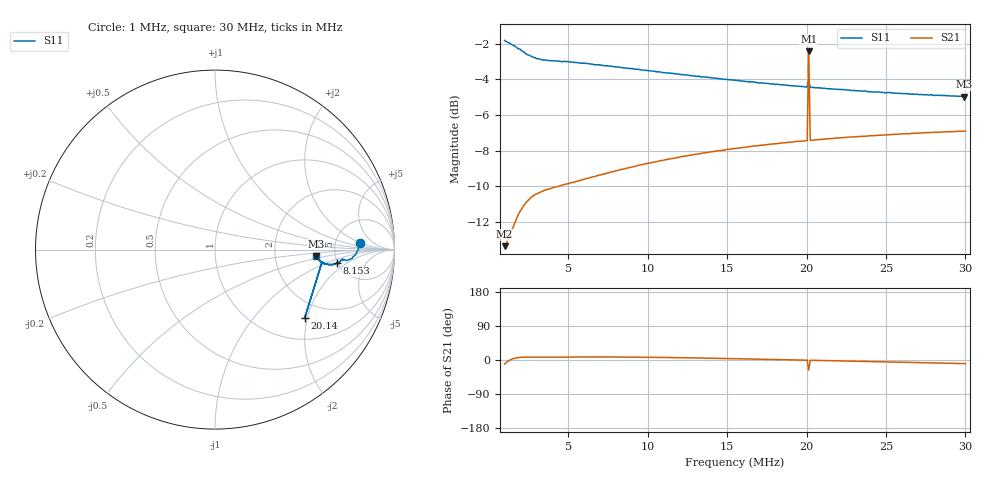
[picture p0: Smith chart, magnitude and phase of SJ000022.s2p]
!File created by NanoVNA-F V2
# Hz S RI R 50
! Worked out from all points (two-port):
!   301 points, 1 MHz to 30 MHz, reference 50 ohm
!   highest |S21| = -2.43 dB at 20.14 MHz (marker M1); lowest = -13.4 dB at 1 MHz (marker M2)
!   |S21| within 3 dB of the highest: 20.08 MHz to 20.2 MHz (116.3 kHz wide, 0.577 % of centre)
!   lowest |S11| = -5.0 dB at 29.9 MHz (marker M3), VSWR 3.59, Z = 178 - j18.2 ohm
!   |S11| at or under -10 dB: nowhere
!   S12 and S22 are empty: the file has one direction only
!   S11 on the Smith chart (normalised r, x): 1 MHz: 9.11, +2.05; 8.153 MHz: 4.91, -1.39; 20.14 MHz: 1.54, -1.93; 30 MHz: 3.56, -0.36
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1000000  0.8099 0.0385  0.2112 -0.0401  0 0  0 0
1289998  0.7978 0.000383  0.2285 -0.00423  0 0  0 0
1676662  0.7791 -0.033  0.2513 0.0225  0 0  0 0
1966660  0.7652 -0.0485  0.2669 0.0324  0 0  0 0
2159992  0.7533 -0.0536  0.2753 0.0363  0 0  0 0
2449990  0.7363 -0.06  0.2855 0.0384  0 0  0 0
2739988  0.7287 -0.0591  0.2938 0.0397  0 0  0 0
3029986  0.7182 -0.057  0.2988 0.0394  0 0  0 0
3416650  0.7131 -0.054  0.3045 0.0397  0 0  0 0
5833300  0.6972 -0.0645  0.3262 0.0455  0 0  0 0
7766620  0.6819 -0.0768  0.344 0.0488  0 0  0 0
8153284  0.6794 -0.0757  0.3477 0.0488  0 0  0 0
1.06666e7  0.6573 -0.0835  0.3691 0.0446  0 0  0 0
1.54999e7  0.6221 -0.0811  0.4033 0.024  0 0  0 0
1.801322e7  0.6049 -0.0768  0.4158 0.00981  0 0  0 0
2.00432e7  0.597 -0.0704  0.4252 -0.00387  0 0  0 0
2.013987e7  0.5006 -0.3787  0.6758 -0.3381  0 0  0 0
2.023653e7  0.5948 -0.0706  0.4257 -0.00497  0 0  0 0
2.03332e7  0.5948 -0.0692  0.4261 -0.00613  0 0  0 0
2.51665e7  0.5773 -0.0523  0.4398 -0.0399  0 0  0 0
2.990313e7  0.5634 -0.035  0.4451 -0.0747  0 0  0 0
2.99998e7  0.5643 -0.0343  0.4458 -0.0751  0 0  0 0
